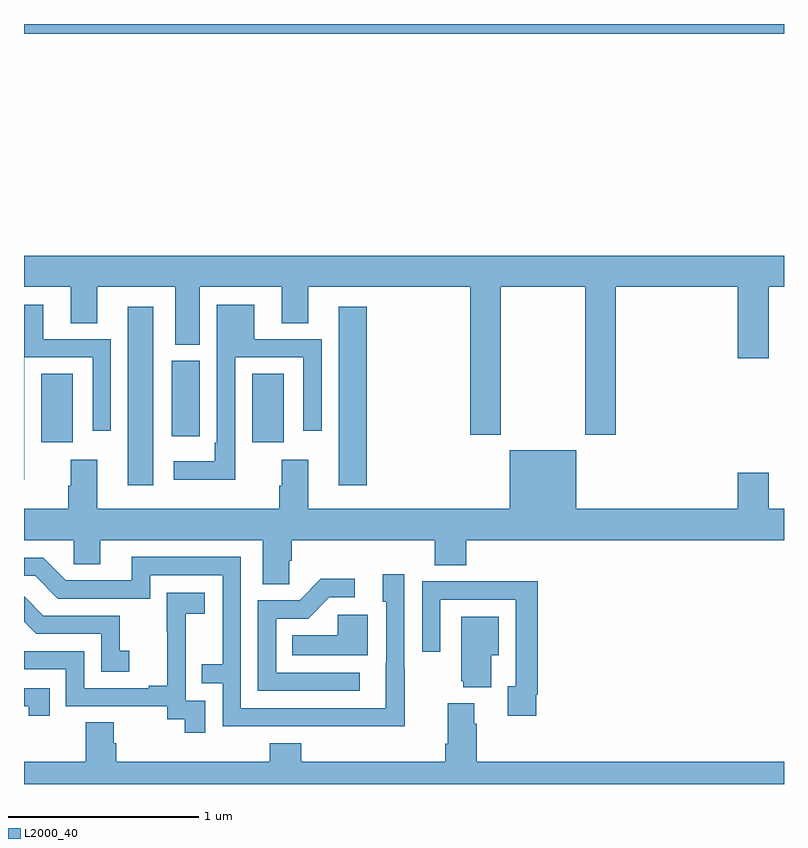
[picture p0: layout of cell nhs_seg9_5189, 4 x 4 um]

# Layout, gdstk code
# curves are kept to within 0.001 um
import gdstk
lib = gdstk.Library(unit=1e-6, precision=1e-09)
def R(c, l, rs):  # rectangles x0, y0, x1, y1
    for r in rs: c.add(gdstk.rectangle(r[:2], r[2:], *l))
def P(c, l, *ps):  # polygons
    for p in ps: c.add(gdstk.Polygon(p, *l))
L2000_40 = (2000, 40)

nhs_seg9_5189 = lib.new_cell('nhs_seg9_5189')
R(nhs_seg9_5189, L2000_40, [(413.546,1166.073,413.68,1167.013), (414.656,1166.073,414.803,1167.013), (413.09,1166.298,413.257,1166.66), (414.2,1166.298,414.367,1166.66), (413.777,1166.331,413.926,1166.727), (413,1168.448,417,1168.5)])
P(nhs_seg9_5189, L2000_40, [(415.509,1167.116),(415.954,1167.116),(415.954,1166.337),(416.114,1166.337),(416.114,1167.116),(416.756,1167.116),(416.756,1166.742),(416.92,1166.742),(416.92,1167.116),(417,1167.116),(417,1167.28),(413,1167.28),(413,1167.116),(413.246,1167.116),(413.246,1166.926),(413.386,1166.926),(413.386,1167.116),(413.795,1167.116),(413.795,1166.812),(413.926,1166.812),(413.926,1167.116),(414.356,1167.116),(414.356,1166.926),(414.496,1166.926),(414.496,1167.116),(415.349,1167.116),(415.349,1166.337),(415.509,1166.337)],
  [(414.111,1166.745),(414.471,1166.745),(414.471,1166.358),(414.567,1166.358),(414.567,1166.841),(414.211,1166.841),(414.211,1167.022),(414.015,1167.022),(414.015,1166.296),(414.003,1166.296),(414.003,1166.2),(413.787,1166.2),(413.787,1166.102),(414.111,1166.102)],
  [(413.001,1166.745),(413.361,1166.745),(413.361,1166.358),(413.457,1166.358),(413.457,1166.841),(413.101,1166.841),(413.101,1167.022),(413,1167.022),(413,1166.102),(413.001,1166.102)],
  [(414.396,1165.675),(414.41,1165.675),(414.41,1165.784),(415.163,1165.784),(415.163,1165.651),(415.328,1165.651),(415.328,1165.784),(417,1165.784),(417,1165.948),(416.92,1165.948),(416.92,1166.137),(416.756,1166.137),(416.756,1165.948),(415.906,1165.948),(415.906,1166.257),(415.556,1166.257),(415.556,1165.948),(414.496,1165.948),(414.496,1166.206),(414.356,1166.206),(414.356,1166.069),(414.344,1166.069),(414.344,1165.948),(413.386,1165.948),(413.386,1166.206),(413.246,1166.206),(413.246,1166.069),(413.234,1166.069),(413.234,1165.948),(413,1165.948),(413,1165.784),(413.262,1165.784),(413.262,1165.657),(413.401,1165.657),(413.401,1165.784),(414.257,1165.784),(414.257,1165.552),(414.396,1165.552)],
  [(415.005,1165.109),(415.002,1165.109),(415.002,1165.603),(414.887,1165.603),(414.887,1165.458),(414.906,1165.458),(414.905,1164.9),(414.141,1164.9),(414.141,1165.695),(413.567,1165.695),(413.567,1165.572),(413.22,1165.572),(413.1,1165.692),(413,1165.692),(413,1165.596),(413.058,1165.596),(413.178,1165.476),(413.664,1165.476),(413.664,1165.599),(414.045,1165.599),(414.045,1165.13),(413.935,1165.13),(413.935,1165.029),(414.045,1165.029),(414.045,1164.804),(415.005,1164.803)],
  [(414.766,1165.086),(414.327,1165.086),(414.327,1165.371),(414.496,1165.371),(414.607,1165.482),(414.742,1165.482),(414.742,1165.58),(414.563,1165.58),(414.45,1165.467),(414.231,1165.467),(414.231,1164.99),(414.766,1164.99)],
  [(415.696,1164.97),(415.703,1164.97),(415.703,1165.568),(415.411,1165.568),(415.411,1165.566),(415.095,1165.566),(415.095,1165.197),(415.191,1165.197),(415.191,1165.47),(415.587,1165.47),(415.587,1165.014),(415.547,1165.014),(415.547,1164.858),(415.696,1164.858)],
  [(413.955,1164.939),(413.85,1164.939),(413.85,1165.169),(413.852,1165.169),(413.852,1165.397),(413.95,1165.397),(413.95,1165.507),(413.752,1165.507),(413.752,1165.301),(413.753,1165.301),(413.753,1165.018),(413.657,1165.018),(413.657,1165.005),(413.316,1165.005),(413.316,1165.2),(413,1165.2),(413,1165.104),(413.22,1165.104),(413.22,1164.909),(413.754,1164.909),(413.754,1164.841),(413.847,1164.841),(413.847,1164.771),(413.955,1164.771)],
  [(413.554,1165.201),(413.505,1165.201),(413.505,1165.386),(413.101,1165.386),(413,1165.487),(413,1165.354),(413.064,1165.29),(413.406,1165.29),(413.406,1165.092),(413.554,1165.092)],
  [(414.808,1165.39),(414.651,1165.39),(414.651,1165.282),(414.412,1165.282),(414.412,1165.178),(414.808,1165.178)],
  [(415.459,1165.178),(415.498,1165.178),(415.498,1165.381),(415.301,1165.381),(415.301,1165.041),(415.313,1165.041),(415.313,1165.01),(415.459,1165.01)],
  [(413.135,1165.005),(413,1165.005),(413,1164.909),(413.024,1164.909),(413.024,1164.858),(413.135,1164.858)],
  [(415.382,1164.818),(415.369,1164.818),(415.369,1164.925),(415.229,1164.925),(415.229,1164.712),(415.217,1164.712),(415.217,1164.616),(414.458,1164.616),(414.458,1164.715),(414.293,1164.715),(414.293,1164.616),(413.486,1164.616),(413.486,1164.714),(413.473,1164.714),(413.473,1164.824),(413.326,1164.824),(413.326,1164.616),(413,1164.616),(413,1164.5),(417,1164.5),(417,1164.616),(415.382,1164.616)])

lib.write_gds('nhs_seg9_5189.gds')
